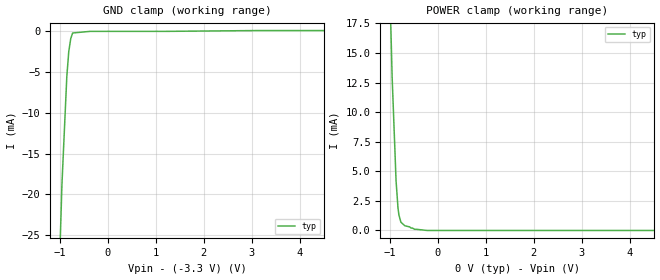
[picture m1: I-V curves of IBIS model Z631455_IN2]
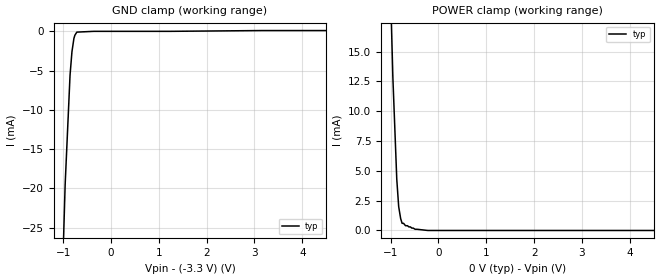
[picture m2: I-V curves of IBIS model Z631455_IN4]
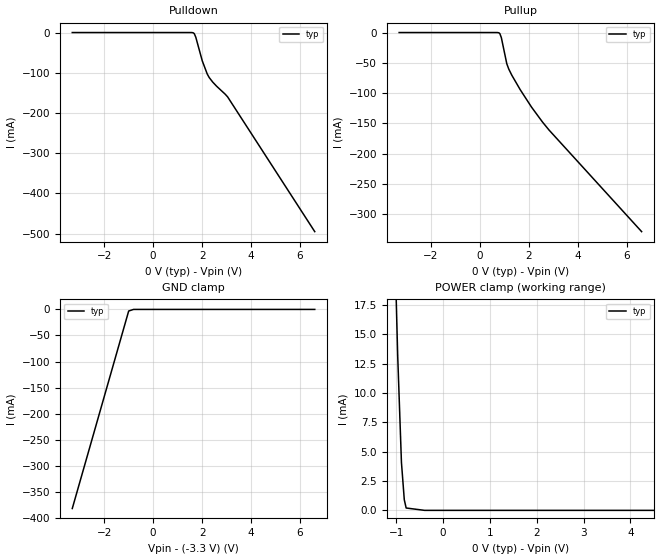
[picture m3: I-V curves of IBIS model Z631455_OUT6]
| YOU ARE ONLY AUTHORIZED TO USE THIS SOFTWARE
| ACCORDING TO LICENSOR'S LICENSE RESTRICTIONS.
[IBIS Ver] 3.1
[File Name] mc10ep58d_-33.ibs
[File Rev] 2.0
[Source] Measured and created by ICX Technology
[Date] Wednesday 11/22/00 2:13:51 PM
[Copyright]
| (C) COPYRIGHT 1993-2000
| MENTOR GRAPHICS CORPORATION
| ICX STANDARD LIBRARY, ICX PROJECT MODELING,
| ICX CUSTOM MODELING, ICX VENDOR MODEL
| ALL RIGHTS RESERVED.
| THE FOLLOWING ARE TRADEMARKS OR SERVICE MARKS OF
| MENTOR GRAPHICS CORPORATION:ICX (R), ICX STANDARD
| LIBRARY(R), ICX PROJECT MODELING(R), ICX CUSTOM
| MODELING(R), qualityIBIS(TM), MODELVIEWER(TM),
| AND MODELEDITOR(TM)
| ALL COPIES OF SOFTWARE, INCLUDING BUT NOT LIMITED TO
| ANY MODIFICATIONS, ENHANCEMENTS OR DERIVATIVE WORKS,
| MUST CONTAIN ALL MENTOR GRAPHICS CORPORATION'S
| NOTICES AND LEGENDS, INCLUDING THOSE EMBEDDED IN
| SOFTWARE AND THOSE AFFIXED TO SOFTWARE MEDIUM
| AND CONTAINER, AS RECEIVED FROM MENTOR GRAPHICS
| CORPORATION.
|  ZAP Model Builder 2.8
[Component] MC10EP58D_-33
[Manufacturer] OnSemiconductor
[Package]
| variable   typ   min   max
R_pkg  .152ohms NA NA
L_pkg  2.714nH NA NA
C_pkg  .364pF NA NA
[Pin] signal_name  model_name  R_pin  L_pin C_pin
1 NC NC .154 2.924n .374p
2 DA Z631455_IN2 .15 2.504n .354p
3 DB Z631455_IN2 .15 2.504n .354p
4 SEL Z631455_IN4 .154 2.924n .374p
5 VEE POWER .154 2.924n .374p
6 _Q Z631455_OUT6 .15 2.504n .354p
7 Q Z631455_OUT6 .15 2.504n .354p
8 VCC GND .154 2.924n .374p
[Diff Pin] inv_pin vdiff tdelay_typ tdelay_min tdelay_max
7 6 NA .005ns NA .02ns
| Models and submodels in the file (3): Z631455_IN2 (Input_ECL), Z631455_IN4 (Input_ECL), Z631455_OUT6 (Output_ECL)
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| (C) COPYRIGHT 1993-2000
| MENTOR GRAPHICS CORPORATION
| ICX STANDARD LIBRARY, ICX PROJECT MODELING,
| ICX CUSTOM MODELING, ICX VENDOR MODEL
| ALL RIGHTS RESERVED.
| THE FOLLOWING ARE TRADEMARKS OR SERVICE MARKS OF
| MENTOR GRAPHICS CORPORATION:ICX (R), ICX STANDARD
| LIBRARY(R), ICX PROJECT MODELING(R), ICX CUSTOM
| MODELING(R), qualityIBIS(TM), MODELVIEWER(TM),
| AND MODELEDITOR(TM)
| ALL COPIES OF SOFTWARE, INCLUDING BUT NOT LIMITED TO
| ANY MODIFICATIONS, ENHANCEMENTS OR DERIVATIVE WORKS,
| MUST CONTAIN ALL MENTOR GRAPHICS CORPORATION'S
| NOTICES AND LEGENDS, INCLUDING THOSE EMBEDDED IN
| SOFTWARE AND THOSE AFFIXED TO SOFTWARE MEDIUM
| AND CONTAINER, AS RECEIVED FROM MENTOR GRAPHICS
| CORPORATION.
| Model Application Version 1.89 2/18/99.
[Model] Z631455_IN2
Model_type Input_ECL
Vinl = -1.545V
Vinh = -1.145V
C_comp 3.000pF NA NA
| variable typ   min   max
[Voltage Range] -3.300V NA NA
[GND Clamp Reference] -3.300V NA NA
[POWER Clamp Reference] 0.000V NA NA
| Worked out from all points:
|   GND clamp passes 1 mA (typ) near -0.78 V on its own axis
|   POWER clamp passes 1 mA (typ) near -0.79 V on its own axis
[GND Clamp]
-3.3V     -576.8mA   NA         NA
-1.058V   -38.4mA    NA         NA
-957mV    -18.8mA    NA         NA
-855mV    -5.5mA     NA         NA
-815mV    -2.5mA     NA         NA
-774mV    -900uA     NA         NA
-734mV    -200uA     NA         NA
-367mV    0A         NA         NA
1.222V    0A         NA         NA
3.118V    100uA      NA         NA
6.6V      100uA      NA         NA
[POWER Clamp]
-3.3V     467.5mA    NA         NA
-1.034V   25.6mA     NA         NA
-953mV    13mA       NA         NA
-871mV    4.2mA      NA         NA
-831mV    1.9mA      NA         NA
-811mV    1.3mA      NA         NA
-770mV    700uA      NA         NA
-689mV    400uA      NA         NA
-587mV    300uA      NA         NA
-486.5mV  100uA      NA         NA
-223mV    0A         NA         NA
6.6V      0A         NA         NA
| (C) COPYRIGHT 1993-2000
| MENTOR GRAPHICS CORPORATION
| ICX STANDARD LIBRARY, ICX PROJECT MODELING,
| ICX CUSTOM MODELING, ICX VENDOR MODEL
| ALL RIGHTS RESERVED.
| THE FOLLOWING ARE TRADEMARKS OR SERVICE MARKS OF
| MENTOR GRAPHICS CORPORATION:ICX (R), ICX STANDARD
| LIBRARY(R), ICX PROJECT MODELING(R), ICX CUSTOM
| MODELING(R), qualityIBIS(TM), MODELVIEWER(TM),
| AND MODELEDITOR(TM)
| ALL COPIES OF SOFTWARE, INCLUDING BUT NOT LIMITED TO
| ANY MODIFICATIONS, ENHANCEMENTS OR DERIVATIVE WORKS,
| MUST CONTAIN ALL MENTOR GRAPHICS CORPORATION'S
| NOTICES AND LEGENDS, INCLUDING THOSE EMBEDDED IN
| SOFTWARE AND THOSE AFFIXED TO SOFTWARE MEDIUM
| AND CONTAINER, AS RECEIVED FROM MENTOR GRAPHICS
| CORPORATION.
| Model Application Version 1.89 2/18/99.
[Model] Z631455_IN4
Model_type Input_ECL
Vinl = -1.545V
Vinh = -1.145V
C_comp 3.000pF NA NA
| variable typ   min   max
[Voltage Range] -3.300V NA NA
[GND Clamp Reference] -3.300V NA NA
[POWER Clamp Reference] 0.000V NA NA
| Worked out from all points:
|   GND clamp passes 1 mA (typ) near -0.78 V on its own axis
|   POWER clamp passes 1 mA (typ) near -0.79 V on its own axis
[GND Clamp]
-3.3V     -609.1mA   NA         NA
-1.078V   -44.5mA    NA         NA
-957mV    -19.5mA    NA         NA
-855mV    -5.6mA     NA         NA
-815mV    -2.6mA     NA         NA
-774mV    -900uA     NA         NA
-754mV    -500uA     NA         NA
-713mV    -100uA     NA         NA
-356.5mV  0A         NA         NA
1.242V    0A         NA         NA
3.158V    100uA      NA         NA
6.6V      100uA      NA         NA
[POWER Clamp]
-3.3V     448.6mA    NA         NA
-1.034V   25mA       NA         NA
-953mV    12.9mA     NA         NA
-871mV    4.3mA      NA         NA
-831mV    2mA        NA         NA
-790mV    1mA        NA         NA
-759.5mV  600uA      NA         NA
-729mV    600uA      NA         NA
-688.5mV  400uA      NA         NA
-486.5mV  100uA      NA         NA
-223mV    0A         NA         NA
6.6V      0A         NA         NA
| (C) COPYRIGHT 1993-2000
| MENTOR GRAPHICS CORPORATION
| ICX STANDARD LIBRARY, ICX PROJECT MODELING,
| ICX CUSTOM MODELING, ICX VENDOR MODEL
| ALL RIGHTS RESERVED.
| THE FOLLOWING ARE TRADEMARKS OR SERVICE MARKS OF
| MENTOR GRAPHICS CORPORATION:ICX (R), ICX STANDARD
| LIBRARY(R), ICX PROJECT MODELING(R), ICX CUSTOM
| MODELING(R), qualityIBIS(TM), MODELVIEWER(TM),
| AND MODELEDITOR(TM)
| ALL COPIES OF SOFTWARE, INCLUDING BUT NOT LIMITED TO
| ANY MODIFICATIONS, ENHANCEMENTS OR DERIVATIVE WORKS,
| MUST CONTAIN ALL MENTOR GRAPHICS CORPORATION'S
| NOTICES AND LEGENDS, INCLUDING THOSE EMBEDDED IN
| SOFTWARE AND THOSE AFFIXED TO SOFTWARE MEDIUM
| AND CONTAINER, AS RECEIVED FROM MENTOR GRAPHICS
| CORPORATION.
| Model Application Version 1.89 2/18/99.
[Model] Z631455_OUT6
Model_type Output_ECL
Vref=-2.000V
Rref=50.00ohms
Cref=0.000F
Vmeas=-1.345V
C_comp 8.000pF NA NA
| variable typ   min   max
[Voltage Range] -3.300V NA NA
[POWER Clamp Reference] 0.000V NA NA
[Pullup Reference] 0.000V NA NA
[Pulldown Reference] 0.000V NA NA
[GND Clamp Reference] -3.300V NA NA
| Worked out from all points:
|   GND clamp passes 1 mA (typ) near -0.86 V on its own axis
|   POWER clamp passes 1 mA (typ) near -0.83 V on its own axis
[GND Clamp]
-3.3V     -381.8mA   NA         NA
-997mV    -3.038mA   NA         NA
-797.6mV  0A         NA         NA
6.6V      0A         NA         NA
[Pulldown]
-3.3V     0A         NA         NA
1.642V    -800uA     NA         NA
1.682V    -2.9mA     NA         NA
1.743V    -11.6mA    NA         NA
2.007V    -70.3mA    NA         NA
2.209V    -102.9mA   NA         NA
2.29V     -111.8mA   NA         NA
2.594V    -133.5mA   NA         NA
3.041V    -159.8mA   NA         NA
6.6V      -494.9mA   NA         NA
[Pullup]
-3.3V     0A         NA         NA
771mV     -400uA     NA         NA
811mV     -1.8mA     NA         NA
872mV     -8.3mA     NA         NA
1.095V    -51.5mA    NA         NA
1.175V    -60.2mA    NA         NA
1.297V    -70.2mA    NA         NA
1.642V    -94.2mA    NA         NA
2.108V    -123.2mA   NA         NA
2.817V    -160.7mA   NA         NA
6.6V      -328.4mA   NA         NA
[POWER Clamp]
-3.3V     446.4mA    NA         NA
-1.054V   25.7mA     NA         NA
-973mV    13.3mA     NA         NA
-892mV    4.1mA      NA         NA
-831mV    900uA      NA         NA
-791mV    200uA      NA         NA
-395.5mV  0A         NA         NA
6.6V      0A         NA         NA
[Ramp]
| variable typ min max
dV/dt_r 458.7m/110.4p NA NA
dV/dt_f 458.7m/88.69p NA NA
R_load = 50.00Ohms
